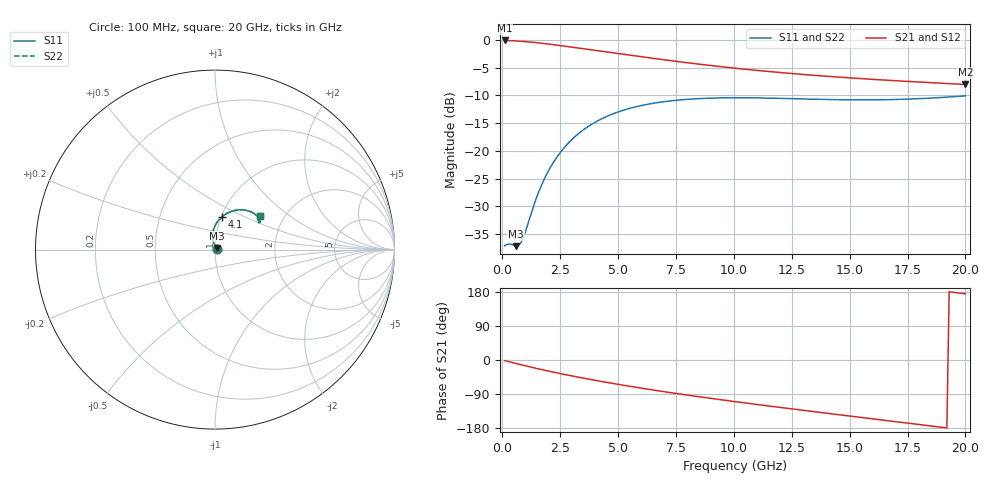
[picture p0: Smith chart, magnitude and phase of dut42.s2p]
! Touchstone file exported from HFSS 2023.1.0
!  File:  D:/Users/fzz/RDL_TSV/temp_RDL_TSV_42_1778744711.aedt
!  Generated:  3:53:50 %x4E0B%x5348  5%x6708 14, 2026
!  Design:  RDL_TSV
!  Project:  temp_RDL_TSV_42_1778744711
!  Setup:  Setup1
!  Solution:  Sweep
! Variables:
!  dtsv = 10.49um
!  hbump = 3um
!  htsv = 61.42um
!  ldown = 359.66um
!  lrdl = 406um
!  p = 40
!  p1 = 45.34um
!  rhole = 10um
!  subl = 2702.98um
!  t = 450um
!  tdown = 3.83um
!  trdl = 4.3um
!  viad = 10um
!  wdown = 28.24um
!  wrdl = 13.85um
!  xbump = 18um
# GHz S MA R 50.000000
! Terminal data exported
! Port[1] = TM1_1_T1
! Port[2] = TM1_4_T1
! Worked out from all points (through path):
!   200 points, 100 MHz to 20 GHz, reference 50 ohm
!   highest |S21| = -0.12 dB at 100 MHz (marker M1); lowest = -8.1 dB at 20 GHz (marker M2)
!   group delay of S21, straight-line fit = 24.3 ps
!   lowest |S11| = -37.2 dB at 600 MHz (marker M3), VSWR 1.03, Z = 51.1 + j0.918 ohm
!   |S11| at or under -10 dB: start of sweep to end of sweep
!   |S22| runs from -37.2 to -10.1 dB; largest |S21 - S12| = 9.7e-15
!   S11 on the Smith chart (normalised r, x): 100 MHz: 1.03, +0.00; 4.1 GHz: 1.01, +0.38; 20 GHz: 1.51, +0.63
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0.1  0.01392 7.8  0.9858 -1.6  0.9858 -1.6  0.01392 7.8
! Gamma 0 0 0 0
! Port Impedance 50 0 50 0
0.3  0.01449 19.1  0.9828 -4.8  0.9828 -4.8  0.01449 19.1
0.6  0.01383 40.5  0.9759 -9.4  0.9759 -9.4  0.01383 40.6
0.7  0.01401 51.0  0.973 -10.9  0.973 -10.9  0.01401 51.0
0.8  0.01481 62.1  0.9698 -12.4  0.9698 -12.4  0.01481 62.2
0.9  0.01638 72.6  0.9663 -13.9  0.9663 -13.9  0.01639 72.7
1.5  0.03892 101.0  0.9403 -22.5  0.9403 -22.5  0.03898 101.1
1.8  0.0549 102.3  0.925 -26.7  0.925 -26.7  0.05498 102.4
2.1  0.07224 100.9  0.9088 -30.7  0.9088 -30.7  0.07236 100.9
2.7  0.1083 94.9  0.8754 -38.3  0.8754 -38.3  0.1085 94.9
3.5  0.1544 85.3  0.8307 -47.9  0.8307 -47.9  0.1546 85.3
4.1  0.1852 78.3  0.7981 -54.6  0.7981 -54.6  0.1854 78.4
5.3  0.2343 66.0  0.7364 -67.3  0.7364 -67.3  0.2347 66.0
6.8  0.2737 53.7  0.6679 -81.9  0.6679 -81.9  0.274 53.7
8.4  0.2944 44.0  0.6063 -96.1  0.6063 -96.1  0.2948 44.0
10.1  0.3004 36.9  0.5533 -110.2  0.5533 -110.2  0.3008 36.9
11.7  0.2977 32.9  0.5135 -122.9  0.5135 -122.9  0.2981 32.9
13.4  0.2917 31.1  0.4796 -135.9  0.4796 -135.9  0.2921 31.1
15  0.2876 31.3  0.4538 -147.9  0.4538 -147.9  0.2881 31.4
16.7  0.2888 33.0  0.4311 -160.6  0.4311 -160.6  0.2892 33.0
18.3  0.2968 35.0  0.4128 -172.6  0.4128 -172.6  0.2973 35.0
20  0.3124 36.7  0.3957 174.7  0.3957 174.7  0.3128 36.7
